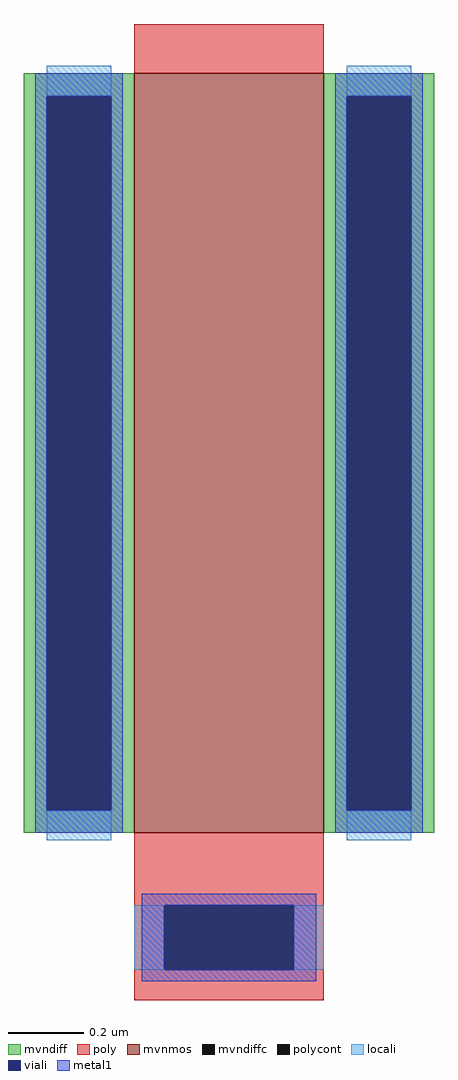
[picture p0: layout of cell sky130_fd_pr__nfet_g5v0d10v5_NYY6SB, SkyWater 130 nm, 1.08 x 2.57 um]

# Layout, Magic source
magic
tech sky130A
magscale 1 2
<< mvnmos >>
rect -50 -169 50 231
<< mvndiff >>
rect -108 219 -50 231
rect -108 -157 -96 219
rect -62 -157 -50 219
rect -108 -169 -50 -157
rect 50 219 108 231
rect 50 -157 62 219
rect 96 -157 108 219
rect 50 -169 108 -157
<< mvndiffc >>
rect -96 -157 -62 219
rect 62 -157 96 219
<< poly >>
rect -50 231 50 257
rect -50 -207 50 -169
rect -50 -241 -34 -207
rect 34 -241 50 -207
rect -50 -257 50 -241
<< polycont >>
rect -34 -241 34 -207
<< locali >>
rect -96 219 -62 235
rect -96 -173 -62 -157
rect 62 219 96 235
rect 62 -173 96 -157
rect -50 -241 -34 -207
rect 34 -241 50 -207
<< viali >>
rect -96 -157 -62 219
rect 62 -157 96 219
rect -34 -241 34 -207
<< metal1 >>
rect -102 219 -56 231
rect -102 -157 -96 219
rect -62 -157 -56 219
rect -102 -169 -56 -157
rect 56 219 102 231
rect 56 -157 62 219
rect 96 -157 102 219
rect 56 -169 102 -157
rect -46 -207 46 -201
rect -46 -241 -34 -207
rect 34 -241 46 -207
rect -46 -247 46 -241
<< properties >>
string gencell sky130_fd_pr__nfet_g5v0d10v5
string library sky130
string parameters w 2 l 0.5 m 1 nf 1 diffcov 100 polycov 100 guard 0 glc 1 grc 1 gtc 1 gbc 1 tbcov 100 rlcov 100 topc 0 botc 1 poverlap 0 doverlap 1 lmin 0.50 wmin 0.42 compatible {sky130_fd_pr__nfet_01v8 sky130_fd_pr__nfet_01v8_lvt  sky130_fd_bs_flash__special_sonosfet_star  sky130_fd_pr__nfet_g5v0d10v5 sky130_fd_pr__nfet_05v0_nvt  sky130_fd_pr__nfet_03v3_nvt} full_metal 1 viasrc 100 viadrn 100 viagate 100 viagb 0 viagr 0 viagl 0 viagt 0
<< end >>
